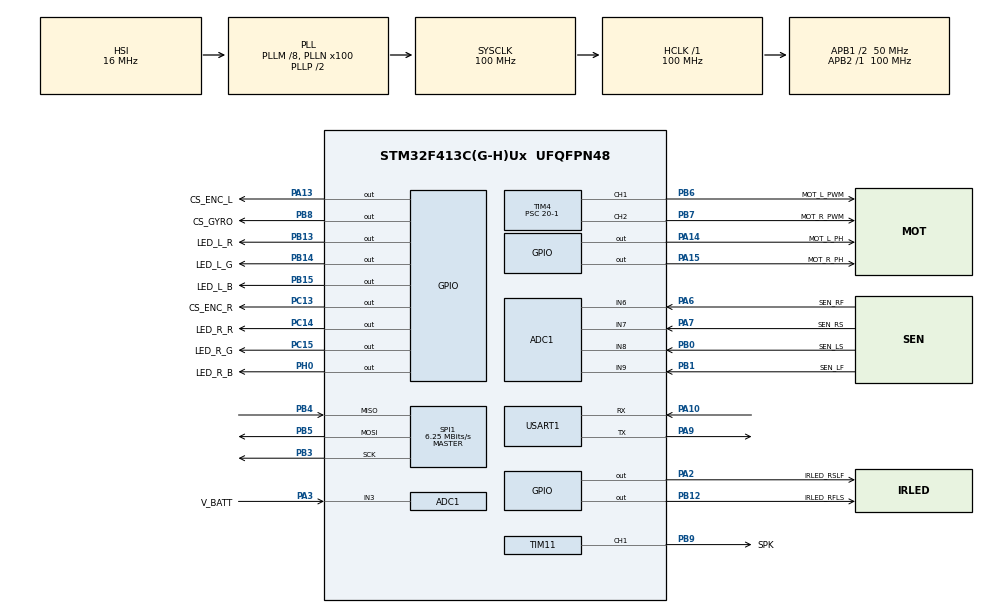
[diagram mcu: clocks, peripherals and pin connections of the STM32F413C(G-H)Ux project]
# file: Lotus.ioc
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ADC1.Channel-10\#ChannelRegularConversion=ADC_CHANNEL_7
ADC1.Channel-11\#ChannelRegularConversion=ADC_CHANNEL_8
ADC1.Channel-12\#ChannelRegularConversion=ADC_CHANNEL_9
ADC1.Channel-13\#ChannelRegularConversion=ADC_CHANNEL_3
ADC1.Channel-5\#ChannelRegularConversion=ADC_CHANNEL_6
ADC1.ClockPrescaler=ADC_CLOCK_SYNC_PCLK_DIV6
ADC1.ContinuousConvMode=ENABLE
ADC1.DMAContinuousRequests=ENABLE
ADC1.InjNumberOfConversion=0
ADC1.NbrOfConversion=5
ADC1.NbrOfConversionFlag=1
ADC1.Rank-10\#ChannelRegularConversion=2
ADC1.Rank-11\#ChannelRegularConversion=3
ADC1.Rank-12\#ChannelRegularConversion=4
ADC1.Rank-13\#ChannelRegularConversion=5
ADC1.Rank-5\#ChannelRegularConversion=1
ADC1.SamplingTime-10\#ChannelRegularConversion=ADC_SAMPLETIME_56CYCLES
ADC1.SamplingTime-11\#ChannelRegularConversion=ADC_SAMPLETIME_56CYCLES
ADC1.SamplingTime-12\#ChannelRegularConversion=ADC_SAMPLETIME_56CYCLES
ADC1.SamplingTime-13\#ChannelRegularConversion=ADC_SAMPLETIME_56CYCLES
ADC1.SamplingTime-5\#ChannelRegularConversion=ADC_SAMPLETIME_56CYCLES
ADC1.master=1
Dma.ADC1.0.Direction=DMA_PERIPH_TO_MEMORY
Dma.ADC1.0.FIFOMode=DMA_FIFOMODE_DISABLE
Dma.ADC1.0.Instance=DMA2_Stream0
Dma.ADC1.0.MemDataAlignment=DMA_MDATAALIGN_HALFWORD
Dma.ADC1.0.MemInc=DMA_MINC_ENABLE
Dma.ADC1.0.Mode=DMA_CIRCULAR
Dma.ADC1.0.PeriphDataAlignment=DMA_PDATAALIGN_HALFWORD
Dma.ADC1.0.PeriphInc=DMA_PINC_DISABLE
Dma.ADC1.0.Priority=DMA_PRIORITY_HIGH
Dma.Request0=ADC1
Mcu.Family=STM32F4
Mcu.Name=STM32F413C(G-H)Ux
Mcu.Package=UFQFPN48
NVIC.DMA2_Stream0_IRQn=true\:1\:0\:true\:false\:true\:false\:true
NVIC.PriorityGroup=NVIC_PRIORITYGROUP_4
NVIC.TIM6_DAC_IRQn=true\:2\:0\:true\:false\:true\:true\:true
PA10.Mode=Asynchronous
PA10.Signal=USART1_RX
PA13.GPIO_Label=CS_ENC_L
PA13.GPIO_PuPd=GPIO_PULLUP
PA13.PinState=GPIO_PIN_SET
PA13.Signal=GPIO_Output
PA14.GPIO_Label=MOT_L_PH
PA14.Signal=GPIO_Output
PA15.GPIO_Label=MOT_R_PH
PA15.Signal=GPIO_Output
PA2.GPIO_Label=IRLED_RSLF
PA2.Signal=GPIO_Output
PA3.GPIO_Label=V_BATT
PA3.Signal=ADCx_IN3
PA6.GPIO_Label=SEN_RF
PA6.Signal=ADCx_IN6
PA7.GPIO_Label=SEN_RS
PA7.Signal=ADCx_IN7
PA9.Mode=Asynchronous
PA9.Signal=USART1_TX
PB0.GPIO_Label=SEN_LS
PB0.Signal=ADCx_IN8
PB1.GPIO_Label=SEN_LF
PB1.Signal=ADCx_IN9
PB12.GPIO_Label=IRLED_RFLS
PB12.Signal=GPIO_Output
PB13.GPIO_Label=LED_L_R
PB13.GPIO_PuPd=GPIO_NOPULL
PB13.PinState=GPIO_PIN_SET
PB13.Signal=GPIO_Output
PB14.GPIO_Label=LED_L_G
PB14.GPIO_PuPd=GPIO_NOPULL
PB14.PinState=GPIO_PIN_SET
PB14.Signal=GPIO_Output
PB15.GPIO_Label=LED_L_B
PB15.GPIO_ModeDefaultOutputPP=GPIO_MODE_OUTPUT_PP
PB15.GPIO_PuPd=GPIO_NOPULL
PB15.PinState=GPIO_PIN_SET
PB15.Signal=GPIO_Output
PB3.GPIO_PuPd=GPIO_PULLDOWN
PB3.Mode=Full_Duplex_Master
PB3.Signal=SPI1_SCK
PB4.GPIO_PuPd=GPIO_PULLDOWN
PB4.GPIO_Speed=GPIO_SPEED_FREQ_VERY_HIGH
PB4.Mode=Full_Duplex_Master
PB4.Signal=SPI1_MISO
PB5.GPIO_PuPd=GPIO_PULLDOWN
PB5.GPIO_Speed=GPIO_SPEED_FREQ_VERY_HIGH
PB5.Mode=Full_Duplex_Master
PB5.Signal=SPI1_MOSI
PB6.GPIO_Label=MOT_L_PWM
PB6.Signal=S_TIM4_CH1
PB7.GPIO_Label=MOT_R_PWM
PB7.Signal=S_TIM4_CH2
PB8.GPIO_Label=CS_GYRO
PB8.GPIO_PuPd=GPIO_PULLUP
PB8.PinState=GPIO_PIN_SET
PB8.Signal=GPIO_Output
PB9.GPIO_Label=SPK
PB9.GPIO_PuPd=GPIO_PULLDOWN
PB9.Signal=S_TIM11_CH1
PC13.GPIO_Label=CS_ENC_R
PC13.GPIO_PuPd=GPIO_PULLUP
PC13.PinState=GPIO_PIN_SET
PC13.Signal=GPIO_Output
PC14-OSC32_IN.GPIO_Label=LED_R_R
PC14-OSC32_IN.GPIO_ModeDefaultOutputPP=GPIO_MODE_OUTPUT_PP
PC14-OSC32_IN.GPIO_PuPd=GPIO_NOPULL
PC14-OSC32_IN.PinState=GPIO_PIN_SET
PC14-OSC32_IN.Signal=GPIO_Output
PC15-OSC32_OUT.GPIO_Label=LED_R_G
PC15-OSC32_OUT.GPIO_PuPd=GPIO_NOPULL
PC15-OSC32_OUT.PinState=GPIO_PIN_SET
PC15-OSC32_OUT.Signal=GPIO_Output
PH0\ -\ OSC_IN.GPIO_Label=LED_R_B
PH0\ -\ OSC_IN.GPIO_PuPd=GPIO_NOPULL
PH0\ -\ OSC_IN.PinState=GPIO_PIN_SET
PH0\ -\ OSC_IN.Signal=GPIO_Output
ProjectManager.HeapSize=0x200
ProjectManager.StackSize=0x400
ProjectManager.TargetToolchain=Makefile
RCC.AHBFreq_Value=100000000
RCC.APB1CLKDivider=RCC_HCLK_DIV2
RCC.APB1Freq_Value=50000000
RCC.APB1TimFreq_Value=100000000
RCC.APB2Freq_Value=100000000
RCC.APB2TimFreq_Value=100000000
RCC.CortexFreq_Value=100000000
RCC.HCLKFreq_Value=100000000
RCC.PLLM=8
RCC.PLLN=100
RCC.SYSCLKFreq_VALUE=100000000
RCC.SYSCLKSource=RCC_SYSCLKSOURCE_PLLCLK
RCC.USBFreq_Value=100000000
RCC.VCOOutputFreq_Value=200000000
SH.ADCx_IN3.0=ADC1_IN3,IN3
SH.ADCx_IN6.0=ADC1_IN6,IN6
SH.ADCx_IN7.0=ADC1_IN7,IN7
SH.ADCx_IN8.0=ADC1_IN8,IN8
SH.ADCx_IN9.0=ADC1_IN9,IN9
SH.S_TIM11_CH1.0=TIM11_CH1,PWM Generation1 CH1
SH.S_TIM4_CH1.0=TIM4_CH1,PWM Generation1 CH1
SH.S_TIM4_CH2.0=TIM4_CH2,PWM Generation2 CH2
SPI1.BaudRatePrescaler=SPI_BAUDRATEPRESCALER_16
SPI1.CalculateBaudRate=6.25 MBits/s
SPI1.Direction=SPI_DIRECTION_2LINES
SPI1.Mode=SPI_MODE_MASTER
SPI1.VirtualType=VM_MASTER
TIM11.Channel=TIM_CHANNEL_1
TIM11.Period=50-1
TIM11.Prescaler=100-1
TIM4.Channel-PWM\ Generation1\ CH1=TIM_CHANNEL_1
TIM4.Channel-PWM\ Generation2\ CH2=TIM_CHANNEL_2
TIM4.Period=100-1
TIM4.Prescaler=20-1
TIM6.Period=1000-1
TIM6.Prescaler=50-1
USART1.VirtualMode=VM_ASYNC
VP_TIM11_VS_ClockSourceINT.Mode=Enable_Timer
VP_TIM6_VS_ClockSourceINT.Mode=Enable_Timer
board=Lotus

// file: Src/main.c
/* USER CODE BEGIN Header */
/**
 ******************************************************************************
 * @file           : main.c
 * @brief          : Main program body
 ******************************************************************************
 * @attention
 *
 * <h2><center>&copy; Copyright (c) 2019 STMicroelectronics.
 * All rights reserved.</center></h2>
 *
 * This software component is licensed by ST under BSD 3-Clause license,
 * the "License"; You may not use this file except in compliance with the
 * License. You may obtain a copy of the License at:
 *                        opensource.org/licenses/BSD-3-Clause
 *
 ******************************************************************************
 */
/* USER CODE END Header */

#include "main.h"
#include "adc.h"
#include "dma.h"
#include "gpio.h"
#include "spi.h"
#include "tim.h"
#include "usart.h"

/* USER CODE BEGIN Includes */
#include "hardware/global.h"
#include "hardware/hardware_flags.h"
#include "hardware/init.h"
#include "hardware/interface.h"
#include "hardware/sensors.h"
#include "software/software_flags.h"
#include "software/state.h"
#include <stdint.h>
#include <stdio.h>
/* USER CODE END Includes */

/* USER CODE BEGIN PV */
/* Private variables ---------------------------------------------------------*/

/* USER CODE END PV */

void SystemClock_Config(void);
/* USER CODE BEGIN PFP */
/* Private function prototypes -----------------------------------------------*/
void __io_putchar(uint8_t ch) { HAL_UART_Transmit(&huart1, &ch, 1, 1); }
/* USER CODE END PFP */

int main(void) {
    /* USER CODE BEGIN 1 */
    volatile uint8_t mode;
    /* USER CODE END 1 */

    /* MCU
     * Configuration--------------------------------------------------------*/

    /* Reset of all peripherals, Initializes the Flash interface and the
     * Systick. */
    HAL_Init();

    /* Configure the system clock */
    SystemClock_Config();

    /* Initialize all configured peripherals */
    MX_GPIO_Init();
    MX_DMA_Init();
    MX_ADC1_Init();
    MX_SPI1_Init();
    MX_TIM4_Init();
    MX_TIM11_Init();
    MX_USART1_UART_Init();
    MX_TIM6_Init();
    /* USER CODE BEGIN 2 */
    setbuf(stdout, NULL);
    // init_val();
    start_peripherals();
    wakeup();
    if(V_Batt < 3.7) {
        error_battlowvoltage();
    } else {
        mode = mode_select();
        printf("mode = 0x%x\n", mode);
        /* USER CODE END 2 */

        /* Infinite loop */
        /* USER CODE BEGIN WHILE */
        while(1) {
            printf("X_OUT = %f,Y_OUT = %f,Z_OUT = %f\n", real_state.ang_vel[0],
                   real_state.ang_vel[1], real_state.ang_vel[2]);
            // printf("V_batt = %f\n",V_Batt);
            HAL_Delay(100);
            /* USER CODE END WHILE */

        }
    }
}

void SystemClock_Config(void) {
    RCC_OscInitTypeDef RCC_OscInitStruct = {0};
    RCC_ClkInitTypeDef RCC_ClkInitStruct = {0};

    /** Configure the main internal regulator output voltage
     */
    __HAL_RCC_PWR_CLK_ENABLE();
    __HAL_PWR_VOLTAGESCALING_CONFIG(PWR_REGULATOR_VOLTAGE_SCALE1);
    /** Initializes the CPU, AHB and APB busses clocks
     */
    RCC_OscInitStruct.OscillatorType = RCC_OSCILLATORTYPE_HSI;
    RCC_OscInitStruct.HSIState = RCC_HSI_ON;
    RCC_OscInitStruct.HSICalibrationValue = RCC_HSICALIBRATION_DEFAULT;
    RCC_OscInitStruct.PLL.PLLState = RCC_PLL_ON;
    RCC_OscInitStruct.PLL.PLLSource = RCC_PLLSOURCE_HSI;
    RCC_OscInitStruct.PLL.PLLM = 8;
    RCC_OscInitStruct.PLL.PLLN = 100;
    RCC_OscInitStruct.PLL.PLLP = RCC_PLLP_DIV2;
    RCC_OscInitStruct.PLL.PLLQ = 2;
    RCC_OscInitStruct.PLL.PLLR = 2;
    if(HAL_RCC_OscConfig(&RCC_OscInitStruct) != HAL_OK) {
        Error_Handler();
    }
    /** Initializes the CPU, AHB and APB busses clocks
     */
    RCC_ClkInitStruct.ClockType = RCC_CLOCKTYPE_HCLK | RCC_CLOCKTYPE_SYSCLK |
                                  RCC_CLOCKTYPE_PCLK1 | RCC_CLOCKTYPE_PCLK2;
    RCC_ClkInitStruct.SYSCLKSource = RCC_SYSCLKSOURCE_PLLCLK;
    RCC_ClkInitStruct.AHBCLKDivider = RCC_SYSCLK_DIV1;
    RCC_ClkInitStruct.APB1CLKDivider = RCC_HCLK_DIV2;
    RCC_ClkInitStruct.APB2CLKDivider = RCC_HCLK_DIV1;

    if(HAL_RCC_ClockConfig(&RCC_ClkInitStruct, FLASH_LATENCY_3) != HAL_OK) {
        Error_Handler();
    }
}

void Error_Handler(void) {
    /* USER CODE BEGIN Error_Handler_Debug */
    /* User can add his own implementation to report the HAL error return state
     */
    while(1) {
    }
    /* USER CODE END Error_Handler_Debug */
}

#ifdef USE_FULL_ASSERT
/**
 * @brief  Reports the name of the source file and the source line number
 *         where the assert_param error has occurred.
 * @param  file: pointer to the source file name
 * @param  line: assert_param error line source number
 * @retval None
 */
void assert_failed(uint8_t *file, uint32_t line) {
    /* USER CODE BEGIN 6 */
    /* User can add his own implementation to report the file name and line
       number, tex: printf("Wrong parameters value: file %s on line %d\r\n",
       file, line) */
    /* USER CODE END 6 */
}
#endif /* USE_FULL_ASSERT */

/************************ (C) COPYRIGHT STMicroelectronics *****END OF FILE****/
